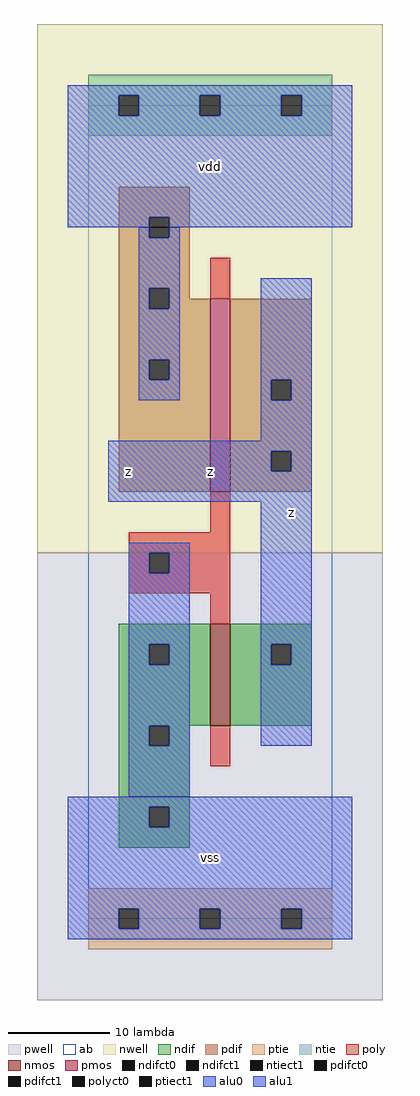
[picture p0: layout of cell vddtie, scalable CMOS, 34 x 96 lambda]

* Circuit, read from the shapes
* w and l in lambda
.subckt vddtie vdd vss z
M1 z vss vss vss nfet w=10 l=2
M2 z vss vdd vdd pfet w=19 l=2
.ends

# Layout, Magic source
magic
tech scmos
<< ab >>
rect 0 0 24 80
<< nwell >>
rect -5 36 29 88
<< pwell >>
rect -5 -8 29 36
<< poly >>
rect 12 61 14 65
rect 12 38 14 42
rect 4 36 14 38
rect 4 34 6 36
rect 8 34 14 36
rect 4 32 14 34
rect 12 29 14 32
rect 12 15 14 19
<< ndif >>
rect 3 27 12 29
rect 3 25 6 27
rect 8 25 12 27
rect 3 19 12 25
rect 14 27 22 29
rect 14 25 18 27
rect 20 25 22 27
rect 14 19 22 25
rect 3 17 6 19
rect 8 17 10 19
rect 3 11 10 17
rect 3 9 6 11
rect 8 9 10 11
rect 3 7 10 9
<< pdif >>
rect 3 69 10 72
rect 3 67 6 69
rect 8 67 10 69
rect 3 62 10 67
rect 3 60 6 62
rect 8 61 10 62
rect 8 60 12 61
rect 3 55 12 60
rect 3 53 6 55
rect 8 53 12 55
rect 3 42 12 53
rect 14 53 22 61
rect 14 51 18 53
rect 20 51 22 53
rect 14 46 22 51
rect 14 44 18 46
rect 20 44 22 46
rect 14 42 22 44
<< alu1 >>
rect -2 81 26 82
rect -2 79 3 81
rect 5 79 11 81
rect 13 79 19 81
rect 21 79 26 81
rect -2 69 26 79
rect -2 68 6 69
rect 8 68 26 69
rect 17 53 22 63
rect 17 51 18 53
rect 20 51 22 53
rect 17 47 22 51
rect 2 46 22 47
rect 2 44 18 46
rect 20 44 22 46
rect 2 41 22 44
rect 17 27 22 41
rect 17 25 18 27
rect 20 25 22 27
rect 17 17 22 25
rect -2 11 26 12
rect -2 9 6 11
rect 8 9 26 11
rect -2 1 26 9
rect -2 -1 3 1
rect 5 -1 11 1
rect 13 -1 19 1
rect 21 -1 26 1
rect -2 -2 26 -1
<< ptie >>
rect 0 1 24 3
rect 0 -1 3 1
rect 5 -1 11 1
rect 13 -1 19 1
rect 21 -1 24 1
rect 0 -3 24 -1
<< ntie >>
rect 0 81 24 83
rect 0 79 3 81
rect 5 79 11 81
rect 13 79 19 81
rect 21 79 24 81
rect 0 77 24 79
<< nmos >>
rect 12 19 14 29
<< pmos >>
rect 12 42 14 61
<< polyct0 >>
rect 6 34 8 36
<< ndifct0 >>
rect 6 25 8 27
rect 6 17 8 19
<< ndifct1 >>
rect 18 25 20 27
rect 6 9 8 11
<< ntiect1 >>
rect 3 79 5 81
rect 11 79 13 81
rect 19 79 21 81
<< ptiect1 >>
rect 3 -1 5 1
rect 11 -1 13 1
rect 19 -1 21 1
<< pdifct0 >>
rect 6 67 8 68
rect 6 60 8 62
rect 6 53 8 55
<< pdifct1 >>
rect 6 68 8 69
rect 18 51 20 53
rect 18 44 20 46
<< alu0 >>
rect 5 67 6 68
rect 8 67 9 68
rect 5 62 9 67
rect 5 60 6 62
rect 8 60 9 62
rect 5 55 9 60
rect 5 53 6 55
rect 8 53 9 55
rect 5 51 9 53
rect 4 36 10 37
rect 4 34 6 36
rect 8 34 10 36
rect 4 27 10 34
rect 4 25 6 27
rect 8 25 10 27
rect 4 19 10 25
rect 4 17 6 19
rect 8 17 10 19
rect 4 12 10 17
<< labels >>
rlabel alu1 4 44 4 44 6 z
rlabel alu1 12 6 12 6 6 vss
rlabel alu1 12 44 12 44 6 z
rlabel alu1 12 74 12 74 6 vdd
rlabel alu1 20 40 20 40 6 z
<< end >>
